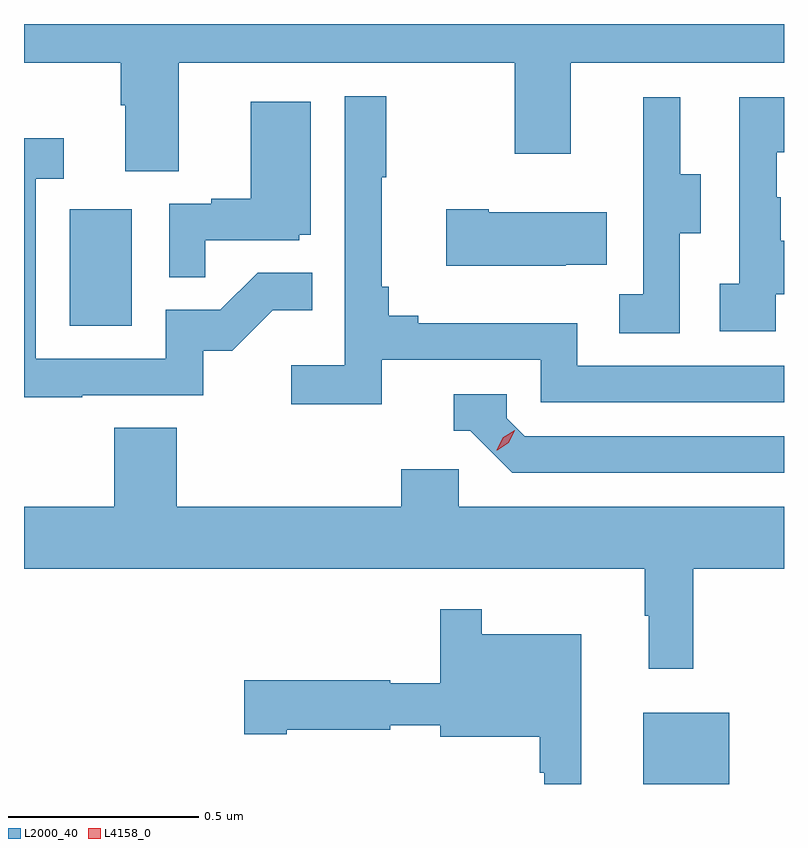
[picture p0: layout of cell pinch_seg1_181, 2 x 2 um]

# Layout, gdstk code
import gdstk
lib = gdstk.Library(unit=1e-6, precision=1e-09)
def R(c, l, rs):  # rectangles x0, y0, x1, y1
    for r in rs: c.add(gdstk.rectangle(r[:2], r[2:], *l))
def P(c, l, *ps):  # polygons
    for p in ps: c.add(gdstk.Polygon(p, *l))
L2000_40 = (2000, 40)
L4158_0 = (4158, 0)

pinch_seg1_181 = lib.new_cell('pinch_seg1_181')
R(pinch_seg1_181, L2000_40, [(1116.101,553.83,1116.328,554.017), (1114.592,555.036,1114.756,555.343)])
P(pinch_seg1_181, L2000_40, [(1114.879,555.728),(1115.764,555.728),(1115.764,555.489),(1115.911,555.489),(1115.911,555.728),(1116.472,555.728),(1116.472,555.83),(1114.472,555.83),(1114.472,555.728),(1114.727,555.728),(1114.727,555.616),(1114.739,555.616),(1114.739,555.442),(1114.879,555.442)],
  [(1115.414,554.946),(1115.832,554.946),(1115.832,554.835),(1116.472,554.835),(1116.472,554.931),(1115.928,554.931),(1115.928,555.043),(1115.509,555.043),(1115.509,555.062),(1115.432,555.062),(1115.432,555.139),(1115.413,555.139),(1115.413,555.427),(1115.425,555.427),(1115.425,555.64),(1115.316,555.64),(1115.316,554.932),(1115.175,554.932),(1115.175,554.83),(1115.414,554.83)],
  [(1116.198,555.28),(1116.253,555.28),(1116.253,555.435),(1116.199,555.435),(1116.199,555.637),(1116.101,555.637),(1116.101,555.423),(1116.102,555.423),(1116.102,555.119),(1116.039,555.119),(1116.039,555.016),(1116.198,555.016)],
  [(1116.45,555.119),(1116.472,555.119),(1116.472,555.259),(1116.463,555.259),(1116.463,555.374),(1116.453,555.374),(1116.453,555.492),(1116.472,555.492),(1116.472,555.637),(1116.354,555.637),(1116.354,555.146),(1116.303,555.146),(1116.303,555.021),(1116.45,555.021)],
  [(1114.949,555.261),(1115.196,555.261),(1115.196,555.276),(1115.227,555.276),(1115.227,555.625),(1115.069,555.625),(1115.069,555.37),(1114.965,555.37),(1114.965,555.357),(1114.854,555.357),(1114.854,555.163),(1114.949,555.163)],
  [(1114.625,554.853),(1114.944,554.853),(1114.944,554.97),(1115.02,554.97),(1115.127,555.077),(1115.231,555.077),(1115.231,555.176),(1115.087,555.176),(1114.989,555.078),(1114.845,555.078),(1114.845,554.949),(1114.503,554.949),(1114.503,555.423),(1114.576,555.423),(1114.576,555.529),(1114.472,555.529),(1114.472,554.848),(1114.625,554.848)],
  [(1115.897,555.197),(1116.005,555.197),(1116.005,555.334),(1115.695,555.334),(1115.695,555.342),(1115.583,555.342),(1115.583,555.194),(1115.897,555.194)],
  [(1116.472,554.745),(1115.79,554.745),(1115.742,554.793),(1115.742,554.856),(1115.603,554.856),(1115.603,554.76),(1115.646,554.76),(1115.757,554.649),(1116.472,554.649)],
  [(1116.233,554.396),(1116.472,554.396),(1116.472,554.56),(1115.616,554.56),(1115.616,554.658),(1115.465,554.658),(1115.465,554.56),(1114.874,554.56),(1114.874,554.768),(1114.709,554.768),(1114.709,554.56),(1114.472,554.56),(1114.472,554.396),(1116.105,554.396),(1116.105,554.273),(1116.116,554.273),(1116.116,554.133),(1116.233,554.133)],
  [(1115.938,554.224),(1115.677,554.224),(1115.677,554.29),(1115.567,554.29),(1115.567,554.095),(1115.436,554.095),(1115.436,554.103),(1115.052,554.103),(1115.052,553.961),(1115.164,553.961),(1115.164,553.973),(1115.436,553.973),(1115.436,553.985),(1115.567,553.985),(1115.567,553.955),(1115.829,553.955),(1115.829,553.859),(1115.841,553.859),(1115.841,553.83),(1115.938,553.83)])
P(pinch_seg1_181, L4158_0, [(1115.716,554.708),(1115.716,554.709),(1115.733,554.742),(1115.764,554.761),(1115.764,554.761),(1115.764,554.761),(1115.748,554.728),(1115.717,554.708)])

lib.write_gds('pinch_seg1_181.gds')
